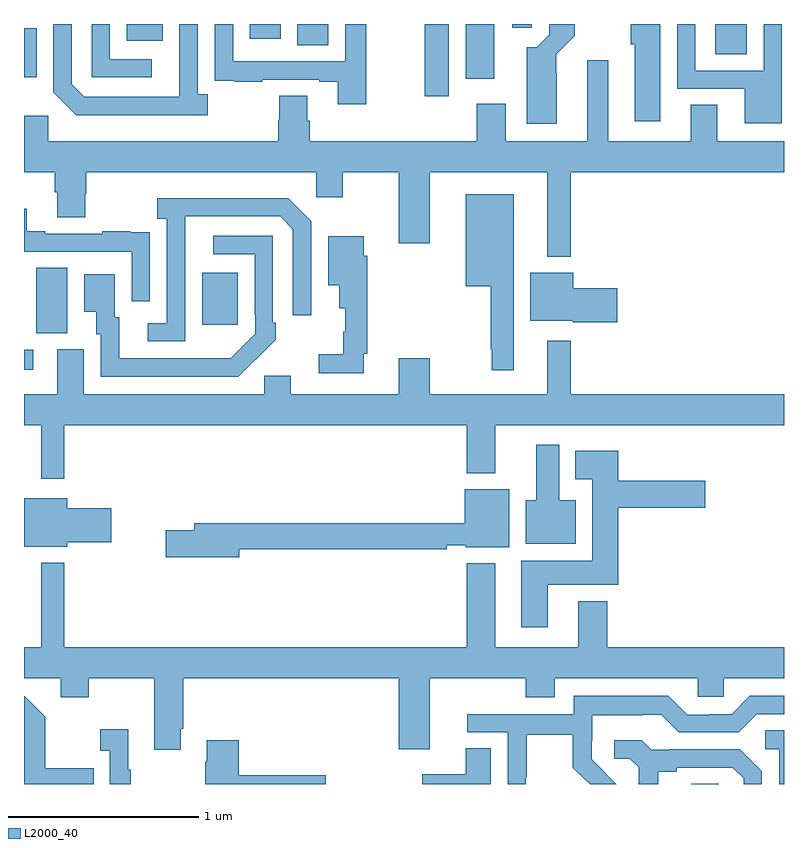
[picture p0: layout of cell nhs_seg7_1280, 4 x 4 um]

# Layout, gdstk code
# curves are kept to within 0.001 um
import gdstk
lib = gdstk.Library(unit=1e-6, precision=1e-09)
def R(c, l, rs):  # rectangles x0, y0, x1, y1
    for r in rs: c.add(gdstk.rectangle(r[:2], r[2:], *l))
def P(c, l, *ps):  # polygons
    for p in ps: c.add(gdstk.Polygon(p, *l))
L2000_40 = (2000, 40)

nhs_seg7_1280 = lib.new_cell('nhs_seg7_1280')
R(nhs_seg7_1280, L2000_40, [(202.511,1060,202.656,1060.001), (199,1062.18,199.048,1062.285), (199.064,1062.373,199.228,1062.716), (199.937,1062.417,200.125,1062.691), (201.109,1063.62,201.235,1064), (201.326,1063.713,201.475,1064), (199,1063.721,199.066,1063.978), (202.637,1063.84,202.804,1064), (200.438,1063.888,200.602,1064), (199.541,1063.913,199.729,1064), (200.189,1063.923,200.35,1064), (201.569,1063.98,201.673,1064)])
P(nhs_seg7_1280, L2000_40, [(202.989,1064),(202.893,1064),(202.893,1063.755),(202.533,1063.755),(202.533,1064),(202.437,1064),(202.437,1063.659),(202.793,1063.659),(202.793,1063.478),(202.989,1063.478)],
  [(200.8,1064),(200.691,1064),(200.691,1063.803),(200.1,1063.803),(200.1,1064),(200.004,1064),(200.004,1063.81),(200.005,1063.81),(200.005,1063.701),(200.107,1063.701),(200.107,1063.695),(200.255,1063.695),(200.255,1063.707),(200.555,1063.707),(200.555,1063.695),(200.651,1063.695),(200.651,1063.578),(200.8,1063.578)],
  [(199.672,1063.815),(199.452,1063.815),(199.452,1064),(199.356,1064),(199.356,1063.719),(199.672,1063.719)],
  [(202.348,1064),(202.193,1064),(202.193,1063.893),(202.214,1063.893),(202.214,1063.488),(202.348,1063.488)],
  [(199.966,1063.63),(199.914,1063.63),(199.914,1064),(199.818,1064),(199.817,1063.617),(199.317,1063.617),(199.251,1063.683),(199.251,1064),(199.155,1064),(199.155,1063.641),(199.276,1063.52),(199.966,1063.52)],
  [(201.805,1063.742),(201.801,1063.742),(201.801,1063.84),(201.898,1063.937),(201.898,1064),(201.765,1064),(201.765,1063.944),(201.699,1063.878),(201.647,1063.878),(201.647,1063.475),(201.805,1063.475)],
  [(201.877,1063.22),(203,1063.22),(203,1063.384),(202.648,1063.384),(202.648,1063.574),(202.508,1063.574),(202.508,1063.384),(202.075,1063.384),(202.075,1063.81),(201.965,1063.81),(201.965,1063.384),(201.535,1063.384),(201.535,1063.579),(201.383,1063.579),(201.383,1063.384),(200.504,1063.384),(200.504,1063.49),(200.491,1063.49),(200.491,1063.622),(200.344,1063.622),(200.344,1063.497),(200.339,1063.497),(200.339,1063.384),(199.128,1063.384),(199.128,1063.516),(199,1063.516),(199,1063.22),(199.163,1063.22),(199.163,1063.114),(199.175,1063.114),(199.175,1062.982),(199.323,1062.982),(199.323,1063.107),(199.328,1063.107),(199.328,1063.22),(200.538,1063.22),(200.538,1063.089),(200.677,1063.089),(200.677,1063.22),(200.972,1063.22),(200.972,1062.846),(201.136,1062.846),(201.136,1063.22),(201.755,1063.22),(201.755,1062.776),(201.877,1062.776)],
  [(201.577,1063.105),(201.326,1063.105),(201.326,1062.62),(201.456,1062.62),(201.456,1062.289),(201.463,1062.289),(201.463,1062.177),(201.577,1062.177)],
  [(199.848,1062.787),(199.849,1062.987),(200.349,1062.987),(200.415,1062.921),(200.415,1062.468),(200.511,1062.468),(200.511,1062.963),(200.39,1063.084),(199.701,1063.084),(199.701,1062.974),(199.752,1062.974),(199.752,1062.426),(199.65,1062.426),(199.65,1062.33),(199.848,1062.33)],
  [(199.662,1062.794),(199.661,1062.794),(199.661,1062.903),(199.559,1062.903),(199.559,1062.91),(199.411,1062.91),(199.411,1062.897),(199.111,1062.897),(199.111,1062.91),(199.015,1062.91),(199.015,1063.027),(199,1063.027),(199,1062.801),(199.566,1062.801),(199.566,1062.54),(199.662,1062.54)],
  [(200.219,1062.235),(200.22,1062.234),(200.325,1062.339),(200.325,1062.427),(200.31,1062.427),(200.31,1062.885),(199.995,1062.885),(199.995,1062.789),(200.214,1062.789),(200.214,1062.469),(200.217,1062.469),(200.217,1062.369),(200.089,1062.241),(199.501,1062.24),(199.501,1062.456),(199.477,1062.456),(199.477,1062.682),(199.316,1062.682),(199.316,1062.485),(199.379,1062.485),(199.379,1062.366),(199.404,1062.366),(199.404,1062.144),(200.128,1062.144)],
  [(200.789,1062.265),(200.807,1062.265),(200.807,1062.779),(200.788,1062.779),(200.788,1062.883),(200.6,1062.883),(200.6,1062.626),(200.66,1062.626),(200.66,1062.503),(200.69,1062.503),(200.69,1062.381),(200.679,1062.381),(200.679,1062.261),(200.55,1062.261),(200.55,1062.162),(200.789,1062.162)],
  [(202.123,1062.608),(201.892,1062.608),(201.892,1062.691),(201.665,1062.691),(201.665,1062.437),(201.888,1062.437),(201.888,1062.43),(202.123,1062.43)],
  [(199.213,1061.888),(201.329,1061.888),(201.329,1061.636),(201.481,1061.636),(201.481,1061.888),(203,1061.888),(203,1062.052),(201.877,1062.052),(201.877,1062.334),(201.755,1062.334),(201.755,1062.052),(201.136,1062.052),(201.136,1062.241),(200.972,1062.241),(200.972,1062.052),(200.404,1062.052),(200.404,1062.15),(200.265,1062.15),(200.265,1062.052),(199.315,1062.052),(199.315,1062.288),(199.175,1062.288),(199.175,1062.052),(199,1062.052),(199,1061.888),(199.091,1061.888),(199.091,1061.607),(199.213,1061.607)],
  [(201.904,1061.494),(201.817,1061.494),(201.817,1061.785),(201.695,1061.785),(201.695,1061.494),(201.641,1061.494),(201.641,1061.264),(201.904,1061.264)],
  [(201.757,1061.048),(202.127,1061.048),(202.127,1061.453),(202.585,1061.453),(202.585,1061.595),(202.127,1061.595),(202.127,1061.755),(201.902,1061.755),(201.902,1061.603),(201.992,1061.603),(201.992,1061.176),(201.617,1061.176),(201.617,1060.824),(201.757,1060.824)],
  [(200.134,1061.236),(201.224,1061.236),(201.224,1061.256),(201.324,1061.256),(201.324,1061.246),(201.553,1061.246),(201.553,1061.551),(201.32,1061.551),(201.32,1061.372),(199.895,1061.372),(199.895,1061.336),(199.746,1061.336),(199.746,1061.194),(200.134,1061.194)],
  [(199.228,1061.273),(199.459,1061.273),(199.459,1061.451),(199.228,1061.451),(199.228,1061.503),(199.001,1061.503),(199.001,1061.249),(199.228,1061.249)],
  [(199.825,1060.291),(199.838,1060.291),(199.838,1060.556),(200.972,1060.556),(200.972,1060.182),(201.136,1060.182),(201.136,1060.556),(201.641,1060.556),(201.641,1060.457),(201.793,1060.457),(201.793,1060.556),(202.545,1060.556),(202.545,1060.458),(202.683,1060.458),(202.683,1060.556),(203,1060.556),(203,1060.72),(202.07,1060.72),(202.07,1060.963),(201.917,1060.963),(201.917,1060.72),(201.481,1060.72),(201.481,1061.161),(201.329,1061.161),(201.329,1060.72),(199.213,1060.72),(199.213,1061.164),(199.091,1061.164),(199.091,1060.72),(199,1060.72),(199,1060.556),(199.193,1060.556),(199.193,1060.457),(199.341,1060.457),(199.341,1060.556),(199.685,1060.556),(199.685,1060.179),(199.825,1060.179)],
  [(201.642,1060.036),(201.645,1060.036),(201.645,1060.26),(201.889,1060.26),(201.889,1060.085),(201.966,1060.008),(201.969,1060.011),(201.98,1060),(202.116,1060),(201.988,1060.13),(201.988,1060.227),(201.99,1060.227),(201.99,1060.361),(202.253,1060.361),(202.253,1060.365),(202.353,1060.365),(202.446,1060.272),(202.761,1060.272),(202.857,1060.368),(203,1060.368),(203,1060.464),(202.821,1060.464),(202.725,1060.368),(202.607,1060.368),(202.607,1060.365),(202.491,1060.365),(202.391,1060.465),(201.894,1060.465),(201.894,1060.368),(201.333,1060.368),(201.333,1060.272),(201.546,1060.272),(201.546,1060),(201.642,1060)],
  [(199.367,1060.083),(199.111,1060.083),(199.111,1060.355),(199.005,1060.461),(199,1060.461),(199,1060.313),(199.002,1060.311),(199.002,1060),(199.367,1060)],
  [(199.561,1060.075),(199.549,1060.075),(199.549,1060.288),(199.401,1060.288),(199.401,1060.175),(199.452,1060.175),(199.452,1060),(199.561,1060)],
  [(203,1060.283),(202.902,1060.283),(202.902,1060.182),(202.974,1060.182),(202.974,1060),(203,1060)],
  [(200.587,1060.046),(200.129,1060.046),(200.129,1060.231),(199.961,1060.231),(199.961,1060.118),(199.954,1060.118),(199.954,1060),(200.587,1060)],
  [(202.339,1060.064),(202.435,1060.064),(202.435,1060.086),(202.73,1060.086),(202.787,1060.029),(202.787,1060),(202.884,1060),(202.884,1060.066),(202.768,1060.182),(202.396,1060.182),(202.396,1060.179),(202.302,1060.179),(202.25,1060.231),(202.107,1060.231),(202.107,1060.134),(202.188,1060.134),(202.235,1060.087),(202.235,1060),(202.339,1060)],
  [(201.457,1060.187),(201.326,1060.187),(201.326,1060.051),(201.096,1060.051),(201.096,1060),(201.457,1060)])

lib.write_gds('nhs_seg7_1280.gds')
